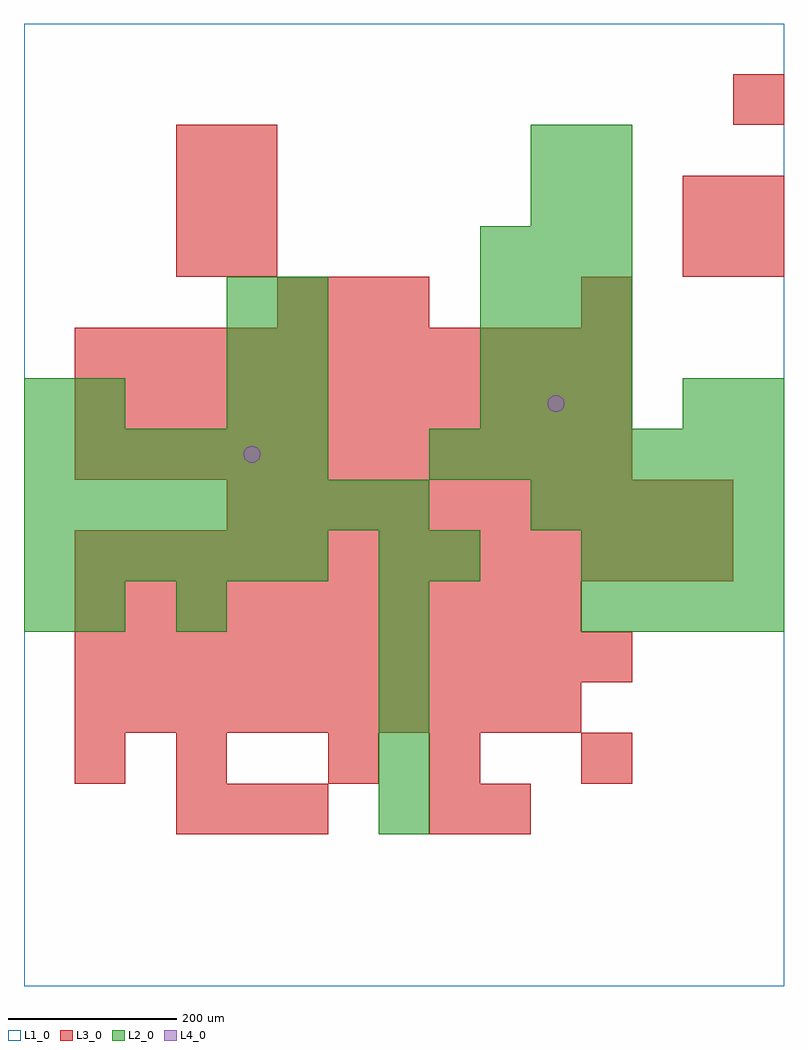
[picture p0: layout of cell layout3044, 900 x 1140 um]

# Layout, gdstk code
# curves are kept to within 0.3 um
import gdstk
lib = gdstk.Library(unit=1e-6, precision=1e-09)
def R(c, l, rs):  # rectangles x0, y0, x1, y1
    for r in rs: c.add(gdstk.rectangle(r[:2], r[2:], *l))
def A(c, l, x, y, w, h, nx, ny, dx, dy):  # array of equal rectangles
    R(c, l, [(x+i*dx, y+j*dy, x+i*dx+w, y+j*dy+h) for i in range(nx) for j in range(ny)])
def P(c, l, *ps):  # polygons
    for p in ps: c.add(gdstk.Polygon(p, *l))
L1_0 = (1, 0)
L2_0 = (2, 0)
L3_0 = (3, 0)
L4_0 = (4, 0)

layout3044 = lib.new_cell('layout3044')
R(layout3044, L1_0, [(0,0,900,1140)])
A(layout3044, L2_0, 420, 180, 60, 60, 1, 4, 0, 60)
A(layout3044, L2_0, 180, 420, 60, 60, 3, 1, 240, 0)
A(layout3044, L2_0, 720, 420, 60, 60, 3, 1, 60, 0)
A(layout3044, L2_0, 0, 480, 60, 60, 6, 2, 60, 120)
A(layout3044, L2_0, 660, 480, 60, 60, 4, 1, 60, 0)
A(layout3044, L2_0, 0, 540, 60, 60, 8, 1, 60, 0)
A(layout3044, L2_0, 600, 540, 60, 60, 5, 1, 60, 0)
A(layout3044, L2_0, 480, 600, 60, 60, 7, 1, 60, 0)
A(layout3044, L2_0, 240, 660, 60, 60, 1, 3, 0, 60)
A(layout3044, L2_0, 300, 660, 60, 60, 1, 3, 0, 60)
A(layout3044, L2_0, 540, 660, 60, 60, 3, 4, 60, 60)
R(layout3044, L2_0, [(0,420,60,480), (60,420,120,480), (420,480,480,540), (480,480,540,540), (0,660,60,720), (60,660,120,720), (780,660,840,720), (840,660,900,720), (600,900,660,960), (660,900,720,960), (600,960,660,1020), (660,960,720,1020)])
A(layout3044, L3_0, 180, 180, 60, 60, 3, 1, 60, 0)
A(layout3044, L3_0, 60, 300, 60, 60, 10, 2, 60, 120)
A(layout3044, L3_0, 60, 360, 60, 60, 11, 2, 60, 240)
A(layout3044, L3_0, 60, 480, 60, 60, 13, 1, 60, 0)
A(layout3044, L3_0, 240, 540, 60, 60, 10, 1, 60, 0)
A(layout3044, L3_0, 60, 660, 60, 60, 11, 2, 60, 60)
A(layout3044, L3_0, 300, 780, 60, 60, 3, 1, 60, 0)
A(layout3044, L3_0, 180, 840, 60, 60, 1, 3, 0, 60)
A(layout3044, L3_0, 240, 840, 60, 60, 1, 3, 0, 60)
R(layout3044, L3_0, [(480,180,540,240), (540,180,600,240), (60,240,120,300), (180,240,240,300), (360,240,420,300), (480,240,540,300), (660,240,720,300), (660,780,720,840), (780,840,840,900), (840,840,900,900), (780,900,840,960), (840,900,900,960), (840,1020,900,1080)])
P(layout3044, L4_0, [(280,630),(279.239,633.827),(277.071,637.071),(273.827,639.239),(270,640),(266.173,639.239),(262.929,637.071),(260.761,633.827),(260,630),(260.761,626.173),(262.929,622.929),(266.173,620.761),(270,620),(273.827,620.761),(277.071,622.929),(279.239,626.173)],
  [(640,690),(639.239,693.827),(637.071,697.071),(633.827,699.239),(630,700),(626.173,699.239),(622.929,697.071),(620.761,693.827),(620,690),(620.761,686.173),(622.929,682.929),(626.173,680.761),(630,680),(633.827,680.761),(637.071,682.929),(639.239,686.173)])

lib.write_gds('layout3044.gds')
